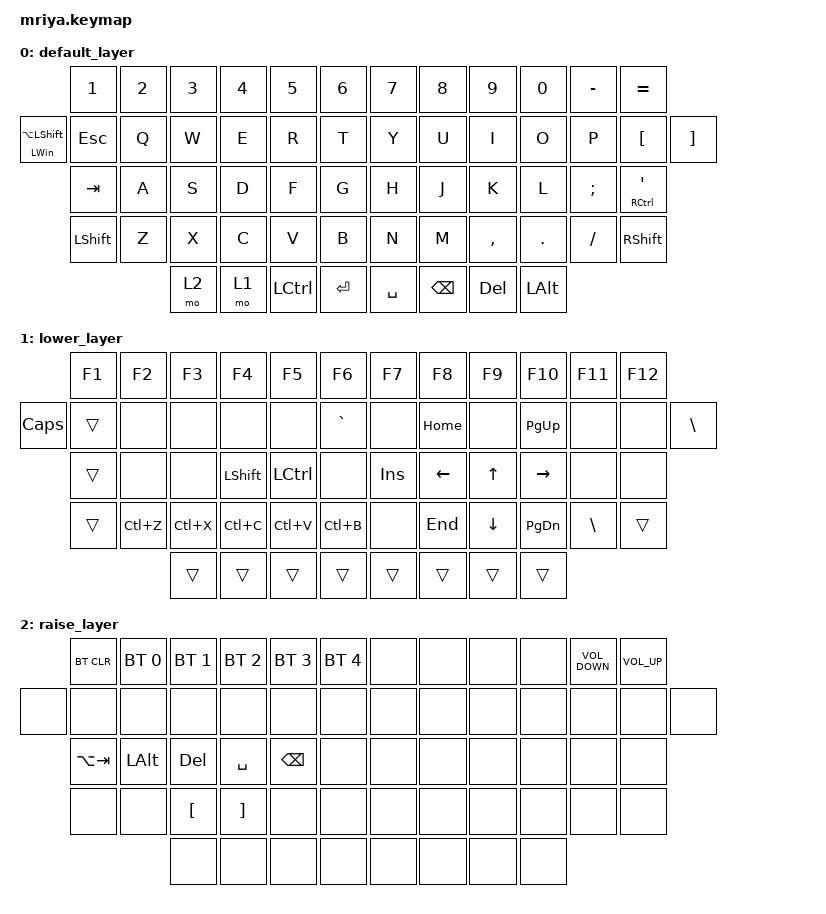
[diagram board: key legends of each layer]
/*
 * Copyright (c) 2023 Andrei Gaevskii
 *
 * SPDX-License-Identifier: MIT
 */

#include <behaviors.dtsi>
#include <dt-bindings/zmk/bt.h>
#include <dt-bindings/zmk/keys.h>

#define DEF 0
#define LWR 1
#define RSE 2
#define ADJ 3

&lt { quick_tap_ms = <200>; };

&mt { quick_tap_ms = <200>; };

/ {
    keymap {
        compatible = "zmk,keymap";

        default_layer {
            bindings = <
                             &kp NUMBER_1    &kp NUMBER_2  &kp NUMBER_3  &kp NUMBER_4  &kp N5     &kp NUMBER_6    &kp N7     &kp N8         &kp N9      &kp NUMBER_0  &kp MINUS  &kp EQUAL
&mt LEFT_WIN LA(LEFT_SHIFT)  &kp ESCAPE      &kp Q         &kp W         &kp E         &kp R      &kp T           &kp Y      &kp U          &kp I       &kp O         &kp P      &kp LBKT         &kp RIGHT_BRACKET
                             &kp TAB         &kp A         &kp S         &kp D         &kp F      &kp G           &kp H      &kp J          &kp K       &kp L         &kp SEMI   &mt RCTRL SQT
                             &kp LEFT_SHIFT  &kp Z         &kp X         &kp C         &kp V      &kp B           &kp N      &kp M          &kp COMMA   &kp DOT       &kp FSLH   &kp RIGHT_SHIFT
                                                           &mo 2         &mo 1         &kp LCTRL  &kp RET         &kp SPACE  &kp BACKSPACE  &kp DELETE  &kp LEFT_ALT
            >;
        };

        lower_layer {
            bindings = <
              &kp F1  &kp F2     &kp F3     &kp F4          &kp F5     &kp F6       &kp F7      &kp F8          &kp F9          &kp F10          &kp F11        &kp F12
&kp CAPSLOCK  &trans  &none      &none      &none           &none      &kp GRAVE    &none       &kp HOME        &none           &kp PAGE_UP      &none          &none    &kp BACKSLASH
              &trans  &none      &none      &kp LEFT_SHIFT  &kp LCTRL  &none        &kp INSERT  &kp LEFT_ARROW  &kp UP_ARROW    &kp RIGHT_ARROW  &none          &none
              &trans  &kp LC(Z)  &kp LC(X)  &kp LC(C)       &kp LC(V)  &kp LC(B)    &none       &kp END         &kp DOWN_ARROW  &kp PAGE_DOWN    &kp BACKSLASH  &trans
                                 &trans     &trans          &trans     &trans       &trans      &trans          &trans          &trans
            >;
        };

        raise_layer {
            bindings = <
       &bt BT_CLR   &bt BT_SEL 0  &bt BT_SEL 1      &bt BT_SEL 2       &bt BT_SEL 3   &bt BT_SEL 4    &none  &none  &none  &none  &kp C_VOLUME_DOWN  &kp C_VOLUME_UP
&none  &none        &none         &none             &none              &none          &none           &none  &none  &none  &none  &none              &none            &none
       &kp LA(TAB)  &kp LEFT_ALT  &kp DEL           &kp SPACE          &kp BACKSPACE  &none           &none  &none  &none  &none  &none              &none
       &none        &none         &kp LEFT_BRACKET  &kp RIGHT_BRACKET  &none          &none           &none  &none  &none  &none  &none              &none
                                  &none             &none              &none          &none           &none  &none  &none  &none
            >;
        };
    };
};
